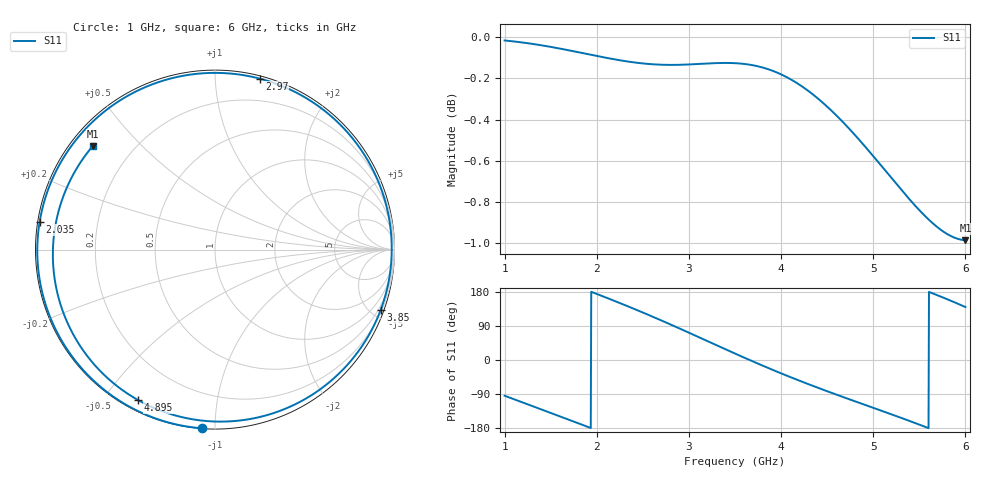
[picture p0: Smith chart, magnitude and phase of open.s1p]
! Created Fri Aug  9 09:31:27 2024
! List of port names and net name(s): example Port n = <port_name> <net_name1> <net_name2> ...
! Port 1 = P1 P2
# hz S ri R 50
! 1 Port Network Data from data block
! freq  reS11  imS11
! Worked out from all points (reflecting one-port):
!   1001 points, 1 GHz to 6 GHz, reference 50 ohm
!   lowest |S11| = -1.0 dB at 6 GHz (marker M1), VSWR 17.62, Z = 3.22 + j18.2 ohm
!   phase of S11 starts at -94 deg and turns -486 deg over the sweep
!   S11 on the Smith chart (normalised r, x): 1 GHz: 0.00, -0.93; 2.035 GHz: 0.01, +0.08; 2.97 GHz: 0.02, +1.29; 3.85 GHz: 0.29, -5.64; 4.895 GHz: 0.04, -0.61; 6 GHz: 0.06, +0.36
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1e9  -0.0745 -0.9954
1.295e9  -0.5144 -0.8532
1.625e9  -0.8687 -0.482
1.835e9  -0.9769 -0.1682
2.035e9  -0.9772 0.1539
2.25e9  -0.8578 0.4886
2.41e9  -0.6903 0.704
2.585e9  -0.4399 0.8814
2.735e9  -0.1835 0.9674
2.875e9  0.0738 0.9819
2.97e9  0.2491 0.9528
3.21e9  0.6477 0.7427
3.36e9  0.8327 0.5275
3.5e9  0.9424 0.2887
3.67e9  0.9844 -0.0214
3.85e9  0.9229 -0.3368
4.125e9  0.6597 -0.7194
4.28e9  0.4524 -0.8592
4.435e9  0.2247 -0.9383
4.59e9  -0.00749 -0.9576
4.75e9  -0.238 -0.9192
4.895e9  -0.429 -0.8382
5.145e9  -0.6974 -0.6111
5.375e9  -0.8541 -0.3262
5.535e9  -0.9006 -0.099
5.69e9  -0.8896 0.1324
5.835e9  -0.8244 0.348
6e9  -0.682 0.5758
